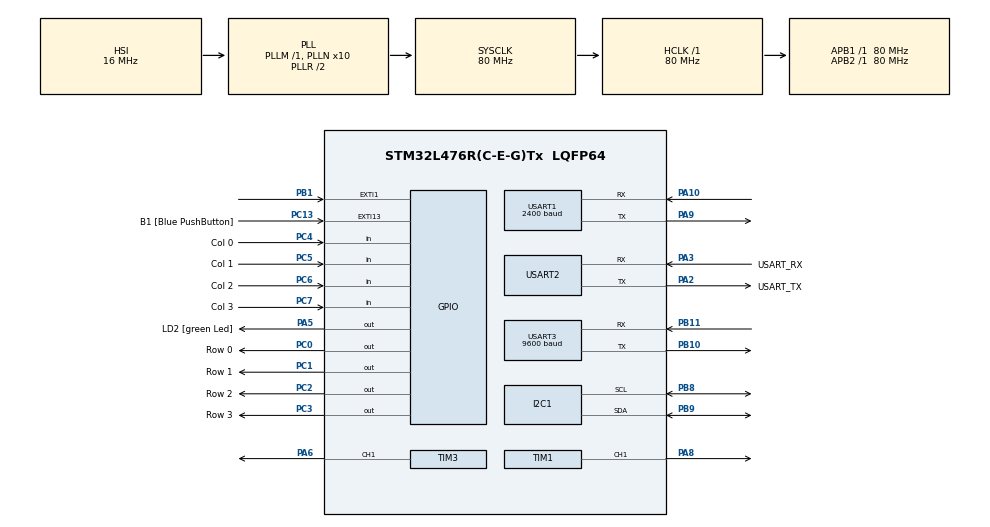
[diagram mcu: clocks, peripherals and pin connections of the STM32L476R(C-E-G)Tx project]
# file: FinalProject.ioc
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FREERTOS.Tasks01=defaultTask,24,128,StartDefaultTask,Default,NULL,Dynamic,NULL,NULL
I2C1.Timing=0x10D19CE4
Mcu.Family=STM32L4
Mcu.Name=STM32L476R(C-E-G)Tx
Mcu.Package=LQFP64
NVIC.EXTI1_IRQn=true\:5\:0\:false\:false\:true\:true\:true\:true\:true
NVIC.PriorityGroup=NVIC_PRIORITYGROUP_4
NVIC.USART1_IRQn=true\:5\:0\:false\:false\:true\:true\:true\:true\:true
PA10.Mode=Asynchronous
PA10.Signal=USART1_RX
PA13\ (JTMS-SWDIO).GPIO_Label=TMS
PA13\ (JTMS-SWDIO).Mode=Serial_Wire
PA13\ (JTMS-SWDIO).Signal=SYS_JTMS-SWDIO
PA14\ (JTCK-SWCLK).GPIO_Label=TCK
PA14\ (JTCK-SWCLK).Mode=Serial_Wire
PA14\ (JTCK-SWCLK).Signal=SYS_JTCK-SWCLK
PA2.GPIO_Label=USART_TX
PA2.GPIO_Mode=GPIO_MODE_AF_PP
PA2.GPIO_PuPd=GPIO_NOPULL
PA2.GPIO_Speed=GPIO_SPEED_FREQ_VERY_HIGH
PA2.Mode=Asynchronous
PA2.Signal=USART2_TX
PA3.GPIO_Label=USART_RX
PA3.GPIO_Mode=GPIO_MODE_AF_PP
PA3.GPIO_PuPd=GPIO_NOPULL
PA3.GPIO_Speed=GPIO_SPEED_FREQ_VERY_HIGH
PA3.Mode=Asynchronous
PA3.Signal=USART2_RX
PA5.GPIO_Label=LD2 [green Led]
PA5.GPIO_ModeDefaultOutputPP=GPIO_MODE_OUTPUT_PP
PA5.GPIO_PuPd=GPIO_NOPULL
PA5.GPIO_Speed=GPIO_SPEED_FREQ_LOW
PA5.Signal=GPIO_Output
PA6.Signal=S_TIM3_CH1
PA8.Signal=S_TIM1_CH1
PA9.Mode=Asynchronous
PA9.Signal=USART1_TX
PB1.GPIO_PuPd=GPIO_PULLDOWN
PB1.Signal=GPXTI1
PB10.Mode=Asynchronous
PB10.Signal=USART3_TX
PB11.Mode=Asynchronous
PB11.Signal=USART3_RX
PB3\ (JTDO-TRACESWO).GPIO_Label=SWO
PB3\ (JTDO-TRACESWO).Signal=SYS_JTDO-SWO
PB8.GPIO_Pu=GPIO_PULLUP
PB8.Mode=I2C
PB8.Signal=I2C1_SCL
PB9.GPIO_Pu=GPIO_PULLUP
PB9.Mode=I2C
PB9.Signal=I2C1_SDA
PC0.GPIO_Label=Row 0
PC0.Signal=GPIO_Output
PC1.GPIO_Label=Row 1
PC1.Signal=GPIO_Output
PC13.GPIO_Label=B1 [Blue PushButton]
PC13.GPIO_ModeDefaultEXTI=GPIO_MODE_IT_FALLING
PC13.GPIO_PuPd=GPIO_NOPULL
PC13.Signal=GPXTI13
PC14-OSC32_IN\ (PC14).Mode=LSE-External-Oscillator
PC14-OSC32_IN\ (PC14).Signal=RCC_OSC32_IN
PC15-OSC32_OUT\ (PC15).Mode=LSE-External-Oscillator
PC15-OSC32_OUT\ (PC15).Signal=RCC_OSC32_OUT
PC2.GPIO_Label=Row 2
PC2.Signal=GPIO_Output
PC3.GPIO_Label=Row 3
PC3.Signal=GPIO_Output
PC4.GPIO_Label=Col 0
PC4.GPIO_PuPd=GPIO_PULLDOWN
PC4.Signal=GPIO_Input
PC5.GPIO_Label=Col 1
PC5.GPIO_PuPd=GPIO_PULLDOWN
PC5.Signal=GPIO_Input
PC6.GPIO_Label=Col 2
PC6.GPIO_PuPd=GPIO_PULLDOWN
PC6.Signal=GPIO_Input
PC7.GPIO_Label=Col 3
PC7.GPIO_PuPd=GPIO_PULLDOWN
PC7.Signal=GPIO_Input
PH0-OSC_IN\ (PH0).Signal=RCC_OSC_IN
PH1-OSC_OUT\ (PH1).Signal=RCC_OSC_OUT
ProjectManager.HeapSize=0x200
ProjectManager.StackSize=0x400
ProjectManager.TargetToolchain=STM32CubeIDE
RCC.ADCFreq_Value=64000000
RCC.AHBFreq_Value=80000000
RCC.APB1Freq_Value=80000000
RCC.APB1TimFreq_Value=80000000
RCC.APB2Freq_Value=80000000
RCC.APB2TimFreq_Value=80000000
RCC.CortexFreq_Value=80000000
RCC.HCLKFreq_Value=80000000
RCC.HSE_VALUE=8000000
RCC.HSI_VALUE=16000000
RCC.MSI_VALUE=4000000
RCC.PLLN=10
RCC.PLLSourceVirtual=RCC_PLLSOURCE_HSI
RCC.PREFETCH_ENABLE=1
RCC.SYSCLKFreq_VALUE=80000000
RCC.SYSCLKSource=RCC_SYSCLKSOURCE_PLLCLK
RCC.USBFreq_Value=64000000
RCC.VCOOutputFreq_Value=160000000
SH.S_TIM1_CH1.0=TIM1_CH1,PWM Generation1 CH1
SH.S_TIM3_CH1.0=TIM3_CH1,PWM Generation1 CH1
TIM1.AutoReloadPreload=TIM_AUTORELOAD_PRELOAD_ENABLE
TIM1.Channel-PWM\ Generation1\ CH1=TIM_CHANNEL_1
TIM1.Period=19999
TIM1.Prescaler=79
TIM1.Pulse-PWM\ Generation1\ CH1=1500
TIM3.Channel-PWM\ Generation1\ CH1=TIM_CHANNEL_1
TIM3.Period=999
TIM3.Prescaler=79
USART1.BaudRate=2400
USART1.VirtualMode-Asynchronous=VM_ASYNC
USART2.VirtualMode-Asynchronous=VM_ASYNC
USART3.BaudRate=9600
USART3.VirtualMode-Asynchronous=VM_ASYNC
VP_FREERTOS_VS_CMSIS_V2.Mode=CMSIS_V2
board=NUCLEO-L476RG

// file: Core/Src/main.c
/* USER CODE BEGIN Header */
/**
  ******************************************************************************
  * @file           : main.c
  * @brief          : Main program body
  ******************************************************************************
  * @attention
  *
  * Copyright (c) 2025 STMicroelectronics.
  * All rights reserved.
  *
  * This software is licensed under terms that can be found in the LICENSE file
  * in the root directory of this software component.
  * If no LICENSE file comes with this software, it is provided AS-IS.
  *
  ******************************************************************************
  */
/* USER CODE END Header */
#include "main.h"
#include "cmsis_os.h"
#include "i2c.h"
#include "tim.h"
#include "usart.h"
#include "gpio.h"

/* USER CODE BEGIN Includes */
#include "lcd_i2c.h"     // LCD over I2C
#include "rfid.h"        // RFID reader interface
#include "keypad.h"      // Matrix keypad interface
#include <string.h>
#include <stdio.h>
/* USER CODE END Includes */

void SystemClock_Config(void);
void MX_FREERTOS_Init(void);

/* USER CODE BEGIN 0 */
// ---- Servo + Buzzer helper functions ----

// Servo: convert desired angle (0–180°) to PWM pulse width on TIM1 CH1
void Servo_SetAngle(float angle) {
    if (angle < 0) angle = 0;
    if (angle > 180) angle = 180;
    // Map 0–180° → 1000–2000 µs pulse (standard hobby servo range)
    uint32_t pulse = 1000 + (uint32_t)((angle / 180.0f) * 1000.0f);
    __HAL_TIM_SET_COMPARE(&htim1, TIM_CHANNEL_1, pulse);
}

// Move servo to locked position (e.g., 0°) and print debug message
void Door_Lock(void) {
    Servo_SetAngle(0);
    HAL_Delay(300);
    printf("🔒 Door locked\n");
}

// Move servo to unlocked position (e.g., 180°) and print debug message
void Door_Unlock(void) {
    Servo_SetAngle(180);
    HAL_Delay(300);
    printf("🔓 Door unlocked\n");
}

// ---- Buzzer setup (TIM3 CH1) ----
#define BUZZ_TIM      htim3
#define BUZZ_CHANNEL  TIM_CHANNEL_1

// Event strings sent over UART3 to ESP12F (for MQTT / logging on ESP side)
#define RFID_SCANNED "RFID_SCANNED"
#define PIN_CORRECT "PIN_CORRECT"
#define PIN_WRONG "PIN_WRONG"
#define RFID_BAD "RFID_BAD"  // Define the RFID_BAD event
#define ACCESS_GRANTED "ACCESS_GRANTED"
#define ACCESS_DENIED "ACCESS_DENIED"

// Helper: send an event string to ESP via USART3 (each message ends with '\n')
void send_event(char* event_message) {
    // Send the event message to USART3 (which is connected to ESP12F)
    HAL_UART_Transmit(&huart3, (uint8_t*)event_message, strlen(event_message), HAL_MAX_DELAY);
    HAL_UART_Transmit(&huart3, (uint8_t*)"\n", 1, HAL_MAX_DELAY);  // Send a newline for easier parsing
}

// Set buzzer output frequency by configuring TIM3 period and duty cycle
static inline void buzzer_set_freq(uint32_t freq_hz) {
    if (freq_hz == 0) {
        // 0 Hz → turn buzzer “off” (no toggling)
        __HAL_TIM_SET_COMPARE(&BUZZ_TIM, BUZZ_CHANNEL, 0);
        return;
    }
    // Compute timer period for a given frequency assuming 1 MHz timer base
    uint32_t period = 1000000UL / freq_hz;
    if (period < 2) period = 2;
    __HAL_TIM_SET_AUTORELOAD(&BUZZ_TIM, period - 1);
    __HAL_TIM_SET_COMPARE(&BUZZ_TIM, BUZZ_CHANNEL, period / 4); // ~25% duty cycle
}

// Convenience: stop buzzer sound (duty cycle = 0)
static inline void buzzer_off(void) {
    __HAL_TIM_SET_COMPARE(&BUZZ_TIM, BUZZ_CHANNEL, 0);
}

// Play a single tone at freq_hz for ms milliseconds, then short pause
static void play_tone(uint32_t freq_hz, uint32_t ms) {
    buzzer_set_freq(freq_hz);
    HAL_Delay(ms);
    buzzer_off();
    HAL_Delay(30);
}

// Success chime: short ascending melody
void chime_ok(void) {
    play_tone(784, 120);
    play_tone(988, 120);
    play_tone(1175, 160);
}

// Error chime: descending / “wrong” sound
void chime_error(void) {
    play_tone(330, 150);
    play_tone(247, 250);
}
/* USER CODE END 0 */

int main(void)
{

  /* USER CODE BEGIN 1 */
  // (Place for early user variables if needed)
  /* USER CODE END 1 */

  /* MCU Configuration--------------------------------------------------------*/

  /* Reset of all peripherals, Initializes the Flash interface and the Systick. */
  HAL_Init();   // Initialize HAL library, SysTick, and reset peripherals

  /* USER CODE BEGIN Init */
  // (Optional user init before clock setup)
  /* USER CODE END Init */

  /* Configure the system clock */
  SystemClock_Config();  // Configure PLL and bus clocks

  /* USER CODE BEGIN SysInit */
  // (Optional: system-level user init after clock)
  /* USER CODE END SysInit */

  /* Initialize all configured peripherals */
  MX_GPIO_Init();
  MX_USART2_UART_Init();  // UART2 (often used for debug / printf)
  MX_I2C1_Init();         // I2C1 (for LCD)
  MX_TIM3_Init();         // Timer 3 (buzzer PWM)
  MX_TIM1_Init();         // Timer 1 (servo PWM)
  MX_USART1_UART_Init();  // UART1 (RFID reader)
  MX_USART3_UART_Init();  // UART3 (ESP12F WiFi/MQTT bridge)
  /* USER CODE BEGIN 2 */
  // Start PWM outputs for servo and buzzer timers
  HAL_TIM_PWM_Start(&htim1, TIM_CHANNEL_1);   // Servo
  HAL_TIM_PWM_Start(&BUZZ_TIM, BUZZ_CHANNEL); // Buzzer

  // UART startup message (debug) over USART2
  char start_msg[] = "\r\n=== Smart Door System Booted ===\r\n";
  HAL_UART_Transmit(&huart2, (uint8_t*)start_msg, strlen(start_msg), HAL_MAX_DELAY);
  /* USER CODE END 2 */

  /* Init scheduler */
  osKernelInitialize();  /* Call init function for freertos objects (in cmsis_os2.c) */
  MX_FREERTOS_Init();    // Create FreeRTOS tasks, queues, etc.

  /* Start scheduler */
  osKernelStart();       // Hand control to FreeRTOS (tasks now run)

  /* We should never get here as control is now taken by the scheduler */

  /* Infinite loop */
  while (1)
  {

    /* USER CODE BEGIN 3 */
    // Should never execute if FreeRTOS is running correctly
  }
  /* USER CODE END 3 */
}

void SystemClock_Config(void)
{
  RCC_OscInitTypeDef RCC_OscInitStruct = {0};
  RCC_ClkInitTypeDef RCC_ClkInitStruct = {0};

  /** Configure the main internal regulator output voltage
  */
  if (HAL_PWREx_ControlVoltageScaling(PWR_REGULATOR_VOLTAGE_SCALE1) != HAL_OK)
  {
    Error_Handler();
  }

  /** Initializes the RCC Oscillators according to the specified parameters
  * in the RCC_OscInitTypeDef structure.
  */
  RCC_OscInitStruct.OscillatorType = RCC_OSCILLATORTYPE_HSI;
  RCC_OscInitStruct.HSIState = RCC_HSI_ON;
  RCC_OscInitStruct.HSICalibrationValue = RCC_HSICALIBRATION_DEFAULT;
  RCC_OscInitStruct.PLL.PLLState = RCC_PLL_ON;
  RCC_OscInitStruct.PLL.PLLSource = RCC_PLLSOURCE_HSI;
  RCC_OscInitStruct.PLL.PLLM = 1;
  RCC_OscInitStruct.PLL.PLLN = 10;
  RCC_OscInitStruct.PLL.PLLP = RCC_PLLP_DIV7;
  RCC_OscInitStruct.PLL.PLLQ = RCC_PLLQ_DIV2;
  RCC_OscInitStruct.PLL.PLLR = RCC_PLLR_DIV2;
  if (HAL_RCC_OscConfig(&RCC_OscInitStruct) != HAL_OK)
  {
    Error_Handler();
  }

  /** Initializes the CPU, AHB and APB buses clocks
  */
  RCC_ClkInitStruct.ClockType = RCC_CLOCKTYPE_HCLK|RCC_CLOCKTYPE_SYSCLK
                              |RCC_CLOCKTYPE_PCLK1|RCC_CLOCKTYPE_PCLK2;
  RCC_ClkInitStruct.SYSCLKSource = RCC_SYSCLKSOURCE_PLLCLK;
  RCC_ClkInitStruct.AHBCLKDivider = RCC_SYSCLK_DIV1;
  RCC_ClkInitStruct.APB1CLKDivider = RCC_HCLK_DIV1;
  RCC_ClkInitStruct.APB2CLKDivider = RCC_HCLK_DIV1;

  if (HAL_RCC_ClockConfig(&RCC_ClkInitStruct, FLASH_LATENCY_4) != HAL_OK)
  {
    Error_Handler();
  }
}

/* USER CODE BEGIN 4 */
// (Extra user functions can go here)
/* USER CODE END 4 */

void Error_Handler(void)
{
  /* USER CODE BEGIN Error_Handler_Debug */
  /* User can add his own implementation to report the HAL error return state */
  __disable_irq();   // Disable interrupts
  while (1)
  {
      // Stay here forever on critical error
  }
  /* USER CODE END Error_Handler_Debug */
}

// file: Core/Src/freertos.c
/* USER CODE BEGIN Header */
/**
  ******************************************************************************
  * @file           : freertos.c
  * @brief          : Smart Door System – Strict Order 2FA (RFID → PIN)
  ******************************************************************************
  */
/* USER CODE END Header */

#include "FreeRTOS.h"
#include "task.h"
#include "main.h"
#include "cmsis_os.h"

/* USER CODE BEGIN Includes */
#include "rfid.h"
#include "keypad.h"
#include "tim.h"
#include "usart.h"
#include <string.h>
#include <stdio.h>
/* USER CODE END Includes */

/* ============================= PRINT MACRO ============================= */
#define UART_PRINT(msg)                                        \
    do {                                                       \
        taskENTER_CRITICAL();                                  \
        HAL_UART_Transmit(&huart2, (uint8_t*)msg, strlen(msg), HAL_MAX_DELAY); \
        taskEXIT_CRITICAL();                                   \
    } while(0)
// Declare the send_event function
void send_event(char* event_message);

/* ============================= DEFINES ============================= */
#define DEFAULT_PIN      "2580"
#define ADMIN_PIN_STR    "1705"

#define EV_RFID_OK   (1u << 0)
#define EV_PIN_OK    (1u << 1)

#define UNLOCK_TIME_MS   5000U
#define RFID_SCANNED "RFID_SCANNED"
#define PIN_CORRECT "PIN_CORRECT"
#define PIN_WRONG "PIN_WRONG"
#define ACCESS_GRANTED "ACCESS_GRANTED"
#define ACCESS_DENIED "ACCESS_DENIED"
#define RFID_BAD "RFID_BAD"  // Define the RFID_BAD event

/* ============================= VARIABLES ============================= */
osEventFlagsId_t evAuth;

volatile uint8_t rfid_passed     = 0;
volatile uint8_t wrong_attempts  = 0;
volatile uint8_t lockout_active  = 0;

volatile uint8_t admin_mode      = 0;
volatile uint8_t admin_step      = 0;

/* PIN storage */
char system_pin[5]   = DEFAULT_PIN;
const char admin_pin[5] = ADMIN_PIN_STR;

char new_pin[5]      = {0};
char confirm_pin[5]  = {0};

/* Task prototypes */
void StartAccessTask(void *argument);
void StartRfidTask(void *argument);
void StartKeypadTask(void *argument);

/* RFID prototypes */
uint8_t RFID_CheckTag(char *tagOut);
void    RFID_Init_IT(void);

/* From main.c */
void Door_Lock(void);
void Door_Unlock(void);
void chime_ok(void);
void chime_error(void);

/* ============================= INIT ============================= */
void MX_FREERTOS_Init(void)
{
    evAuth = osEventFlagsNew(NULL);

    osThreadNew(StartAccessTask, NULL,
        &(osThreadAttr_t){ .name="ACCESS", .stack_size=1024, .priority=osPriorityHigh });

    osThreadNew(StartRfidTask, NULL,
        &(osThreadAttr_t){ .name="RFID", .stack_size=768, .priority=osPriorityNormal });

    osThreadNew(StartKeypadTask, NULL,
        &(osThreadAttr_t){ .name="KEYPAD", .stack_size=768, .priority=osPriorityNormal });
}

/* =====================================================================
 * ACCESS TASK – Waits for RFID first, then PIN
 * ===================================================================== */
void StartAccessTask(void *argument)
{
    Door_Lock();
    UART_PRINT("\r\n[ACCESS] System Ready. Please scan RFID card...\r\n");

    for (;;)
    {
        osEventFlagsWait(evAuth,
                         EV_RFID_OK | EV_PIN_OK,
                         osFlagsWaitAll,
                         osWaitForever);

        UART_PRINT("[ACCESS] ★ Authentication Complete → UNLOCKING DOOR ★\r\n");

        /* ================= MQTT EVENT ================= */
        UART_PRINT("[MQTT] EVENT:ACCESS_GRANTED\r\n");

        Door_Unlock();
        chime_ok();

        /* Reset state */
        rfid_passed    = 0;
        wrong_attempts = 0;
        osEventFlagsClear(evAuth, EV_RFID_OK | EV_PIN_OK);

        osDelay(UNLOCK_TIME_MS);

        Door_Lock();
        UART_PRINT("[ACCESS] Door Locked. Scan RFID to start again.\r\n");
    }
}

/* =====================================================================
 * RFID TASK
 * ===================================================================== */
void StartRfidTask(void *argument)
{
    char tag[20];
    RFID_Init_IT();
    UART_PRINT("[RFID] Ready (Interrupt Mode)\r\n");

    for (;;)
    {
        if (lockout_active)
        {
            osDelay(100);
            continue;
        }

        uint8_t result = RFID_CheckTag(tag);	//0 if not ready, 1 if correct, 2 wrong

        if (result == 1)  // Authorized RFID card
        {
            if (!rfid_passed)
            {
                UART_PRINT("[RFID] Authorized Card → RFID OK\r\n");

                // ================= MQTT EVENT =================
                send_event(RFID_SCANNED);  // Send the RFID scanned event to ESP12F

                UART_PRINT("[RFID] Now enter your PIN...\r\n");

                rfid_passed = 1;
                osEventFlagsSet(evAuth, EV_RFID_OK);
            }
        }
        else if (result == 2)  // Unauthorized RFID card
        {
            UART_PRINT("[RFID] Unauthorized Card\r\n");

            // ================= MQTT EVENT =================
            send_event(RFID_BAD);  // Send the unauthorized RFID event to ESP12F

            chime_error();
        }

        osDelay(50);
    }
}

/* =====================================================================
 * KEYPAD TASK – PIN + Admin Mode
 * ===================================================================== */
void StartKeypadTask(void *argument)
{
    Keypad_Init();
    char pin[5] = {0};
    uint8_t idx = 0;

    for (;;)
    {
        /* ================= LOCKOUT ================= */
        if (lockout_active)
        {
            UART_PRINT("[SYSTEM] LOCKED OUT — WAITING 10 SECONDS...\r\n");
            osDelay(10000);

            UART_PRINT("[SYSTEM] Lockout cleared. Scan RFID again.\r\n");

            lockout_active = 0;
            wrong_attempts = 0;
            rfid_passed    = 0;
            admin_mode     = 0;
            admin_step     = 0;

            idx = 0;
            memset(pin, 0, sizeof(pin));
            memset(new_pin, 0, sizeof(new_pin));
            memset(confirm_pin, 0, sizeof(confirm_pin));

            osEventFlagsClear(evAuth, EV_RFID_OK | EV_PIN_OK);
            continue;
        }

        /* ================= KEYPAD SCAN ================= */
        char k = Keypad_Scan();

        if (!k)
        {
            osDelay(80);
            continue;
        }

        char msg[40];
        sprintf(msg, "[KEYPAD] Key Pressed: %c\r\n", k);
        UART_PRINT(msg);

        /* ================= ADMIN MODE ================= */
        if (admin_mode)
        {
            // unchanged logic
            osDelay(80);
            continue;
        }

        /* ================= NORMAL MODE ================= */

        if (!rfid_passed)
        {
            UART_PRINT("[KEYPAD] PIN ignored. Scan RFID first.\r\n");
            osDelay(80);
            continue;
        }

        if (k == '#')
        {
            idx = 0;
            memset(pin, 0, sizeof(pin));
            UART_PRINT("[KEYPAD] PIN Cleared\r\n");
        }
        else if (k == '*')
        {
            if (idx != 4)
            {
                UART_PRINT("[KEYPAD] PIN must be 4 digits\r\n");
                idx = 0;
                memset(pin, 0, sizeof(pin));
                osDelay(80);
                continue;
            }

            if (memcmp(pin, system_pin, 4) == 0)
            {
                UART_PRINT("[KEYPAD] ✔ Correct PIN → PIN OK\r\n");

                // ================= MQTT EVENT =================
                send_event(PIN_CORRECT);  // Send the PIN correct event to ESP12F

                osEventFlagsSet(evAuth, EV_PIN_OK);
                wrong_attempts = 0;
            }
            else
            {
                wrong_attempts++;

                char err[80];
                sprintf(err, "[KEYPAD] ✖ Incorrect PIN (%d/3)\r\n", wrong_attempts);
                UART_PRINT(err);

                // ================= MQTT EVENT =================
                send_event(PIN_WRONG);  // Send the PIN wrong event to ESP12F

                chime_error();

                if (wrong_attempts >= 3)
                {
                    UART_PRINT("\r\n[SYSTEM] TOO MANY WRONG ATTEMPTS — LOCKING FOR 10 SECONDS\r\n\n");
                    lockout_active = 1;

                    // ================= MQTT EVENT =================
                    send_event(ACCESS_DENIED);  // Send access denied event to ESP12F
                }
                else
                {
                    UART_PRINT("[KEYPAD] Scan RFID again.\r\n");
                    rfid_passed = 0;
                    osEventFlagsClear(evAuth, EV_RFID_OK);
                }
            }

            idx = 0;
            memset(pin, 0, sizeof(pin));
        }
        else if (k >= '0' && k <= '9')
        {
            if (idx < 4)
            {
                pin[idx++] = k;
            }
            else
            {
                UART_PRINT("[KEYPAD] Max 4 digits. Press * or #.\r\n");
            }
        }

        osDelay(80);
    }
}
